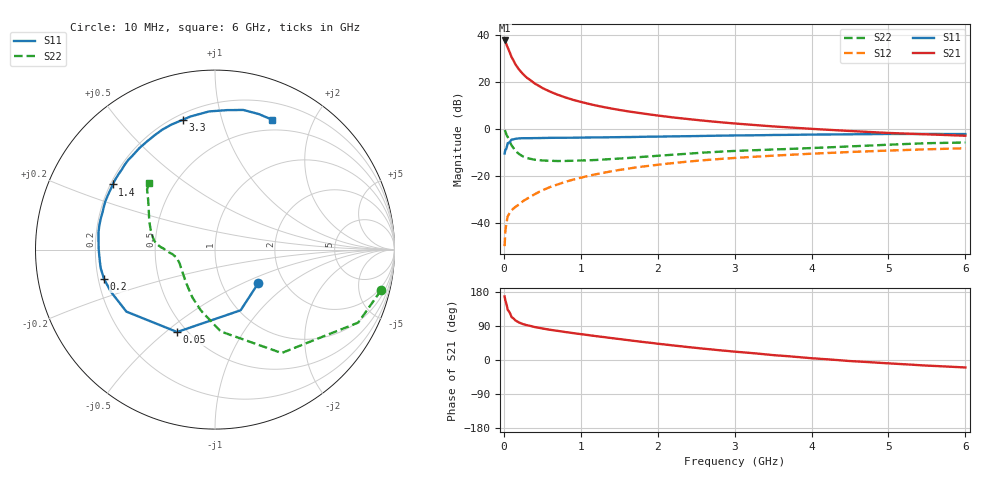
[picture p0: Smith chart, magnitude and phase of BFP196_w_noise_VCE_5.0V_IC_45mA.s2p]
! (c) 2017  Infineon Technologies AG, Munich
! Infineon Technologies  Discrete & RF Semiconductors
! BFP196
! VCE =  5.0 V,  IC =  45 mA
! Common Emitter S-Parameters:  Jan 2017
# GHz  S  MA  R  50
!  f  S11  S21  S12  S22
! GHz  MAG  ANG  MAG  ANG  MAG  ANG  MAG  ANG
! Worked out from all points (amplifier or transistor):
!   77 points, 10 MHz to 6 GHz, reference 50 ohm
!   highest |S21| = 37.7 dB at 10 MHz (marker M1)
!   |S21| within 3 dB of that: start of sweep to 50.05 MHz
!   unconditionally stable (mu >= 1): 591.5 MHz to 2.459 GHz
!   at 130 MHz: K = 0.59, MSG = 31.2 dB, |S12| = -33.5 dB
!   at 2.2 GHz: K = 1.01, MAG = 9.1 dB, |S12| = -14.4 dB
!   at 6 GHz: K = 0.95, MSG = 2.7 dB, |S12| = -8.1 dB
!   lowest NFmin = 1.39 dB at 450 MHz
!   S11 on the Smith chart (normalised r, x): 10 MHz: 1.49, -0.61; 50 MHz: 0.44, -0.55; 200 MHz: 0.22, -0.12; 1.4 GHz: 0.21, +0.28; 3.3 GHz: 0.23, +0.76; 6 GHz: 0.38, +1.46
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0.01  0.3051 -37.5  76.42 167.8  0.0033 80.8  0.9529 -13.7
0.02  0.367 -67.1  73.02 157.0  0.007 73.2  0.8958 -27.0
0.05  0.5054 -114.7  54.13 132.7  0.0141 55.7  0.6855 -57.2
0.1  0.6025 -145.0  33.91 113.4  0.019 52.3  0.4571 -86.0
0.15  0.6261 -158.0  23.85 104.4  0.0225 53.0  0.3488 -102.9
0.2  0.6397 -165.3  18.26 98.7  0.0255 55.9  0.296 -115.0
0.25  0.645 -170.7  14.74 94.7  0.0299 57.5  0.2639 -123.7
0.3  0.645 -174.4  12.35 91.8  0.0334 60.1  0.2452 -131.1
0.4  0.6479 179.9  9.36 87.0  0.0416 62.9  0.2258 -141.1
0.5  0.6513 175.4  7.502 83.2  0.0504 64.6  0.2172 -148.3
0.6  0.6561 171.6  6.284 79.8  0.0593 65.5  0.2138 -153.9
0.7  0.6584 168.2  5.389 76.9  0.0673 66.1  0.2114 -157.9
0.9  0.6601 161.8  4.2 71.0  0.0851 65.0  0.2142 -163.3
1.1  0.6676 156.0  3.463 65.7  0.1026 63.8  0.2193 -167.6
1.4  0.6753 147.5  2.747 57.8  0.1281 60.4  0.2332 -172.4
1.7  0.6845 139.4  2.282 50.3  0.1528 56.8  0.2515 -175.8
2.1  0.7003 129.0  1.865 40.8  0.1835 51.4  0.2804 179.8
3.1  0.7392 107.6  1.286 20.4  0.2511 38.1  0.3508 169.4
3.3  0.7452 103.9  1.214 16.9  0.2628 35.7  0.3605 166.7
4.1  0.7713 91.0  0.997 3.3  0.3074 26.1  0.4047 155.0
5.1  0.793 77.3  0.822 -10.0  0.357 14.4  0.4761 141.8
6  0.7905 66.3  0.727 -19.7  0.3948 4.4  0.5226 134.8
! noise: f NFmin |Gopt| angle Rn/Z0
0.45  1.39  0.37  -180  0.06
0.9  1.55  0.46  -166  0.07
1.9  2.36  0.68  -133  0.3
2.4  2.76  0.7  -120  0.65
